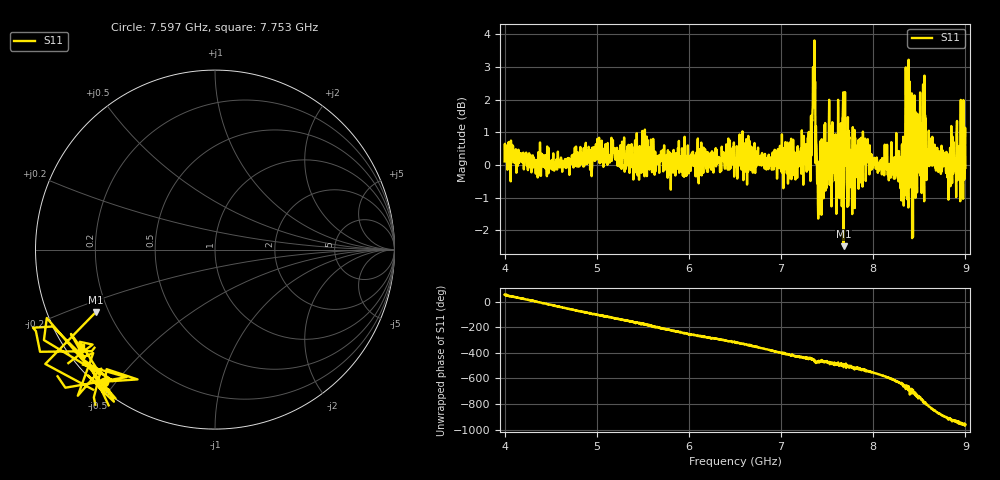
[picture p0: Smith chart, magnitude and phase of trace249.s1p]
! Created with skrf 1.8.0 (http://scikit-rf.org).
# Hz S RI R 50.0
!freq ReS11 ImS11
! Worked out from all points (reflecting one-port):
!   1601 points, 4 GHz to 9 GHz, reference 50 ohm
!   lowest |S11| = -2.5 dB at 7.678 GHz (marker M1), VSWR 7.05, Z = 7.51 - j12.1 ohm
!   phase of S11 starts at 54 deg and turns -1014 deg over the sweep
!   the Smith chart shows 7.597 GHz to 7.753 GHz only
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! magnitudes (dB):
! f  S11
! 4 GHz  0.1
! 4.625 GHz  -0.2
! 5.25 GHz  -0.1
! 5.875 GHz  0.0
! 6.5 GHz  0.1
! 7.125 GHz  0.2
! 7.297 GHz  0.3
! 7.347 GHz  3.0
! 7.366 GHz  1.8
! 7.397 GHz  0.1
! 7.412 GHz  -0.4
! 7.538 GHz  0.8
! 7.591 GHz  0.9
! 7.678 GHz  -2.5
! 7.703 GHz  0.0
! 7.75 GHz  -0.6
! 7.775 GHz  0.5
! 7.878 GHz  0.2
! 8.312 GHz  0.6
! 8.334 GHz  0.4
! 8.356 GHz  2.3
! 8.375 GHz  -0.8
! 8.412 GHz  -0.2
! 8.544 GHz  1.3
! 8.597 GHz  0.3
! 8.812 GHz  0.0
! 8.972 GHz  0.4
! 9 GHz  -0.1
